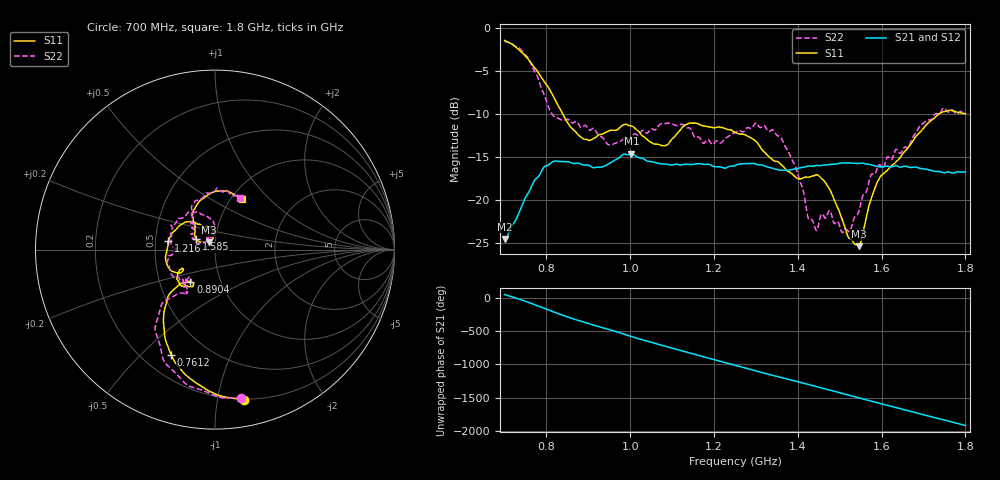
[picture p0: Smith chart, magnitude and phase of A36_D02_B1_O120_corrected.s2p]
! Created with skrf 1.9.0 (http://scikit-rf.org).
# Hz S RI R 50.0
!freq ReS11 ImS11 ReS21 ImS21 ReS12 ImS12 ReS22 ImS22
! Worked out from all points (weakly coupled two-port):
!   1601 points, 700 MHz to 1.8 GHz, reference 50 ohm
!   highest |S21| = -14.64 dB at 1.002 GHz (marker M1); lowest = -24.6 dB at 700 MHz (marker M2)
!   lowest |S11| = -25.4 dB at 1.546 GHz (marker M3), VSWR 1.11, Z = 46.5 + j3.81 ohm
!   |S11| at or under -10 dB: 838.8 MHz to 1.736 GHz (897.3 MHz wide, 69.7 % of centre)
!   |S22| runs from -23.8 to -1.5 dB; largest |S21 - S12| = 0.0034
!   S11 on the Smith chart (normalised r, x): 700 MHz: 0.20, -1.19; 761.2 MHz: 0.32, -0.62; 890.4 MHz: 0.72, -0.27; 1.216 GHz: 0.58, +0.06; 1.585 GHz: 0.81, +0.10; 1.8 GHz: 1.12, +0.70
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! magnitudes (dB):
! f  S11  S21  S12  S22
! 700 MHz  -1.4  -24.6  -24.3  -1.5
! 761.2 MHz  -3.9  -18.8  -18.7  -3.9
! 814.1 MHz  -7.7  -15.6  -15.6  -10.1
! 883.6 MHz  -12.7  -15.9  -15.8  -11.6
! 890.4 MHz  -12.9  -16.0  -15.9  -11.3
! 950.2 MHz  -11.9  -15.8  -15.8  -13.6
! 1.002 GHz  -11.4  -14.6  -14.7  -12.7
! 1.067 GHz  -13.5  -15.8  -15.7  -11.4
! 1.139 GHz  -11.1  -15.9  -15.8  -11.6
! 1.216 GHz  -11.6  -16.2  -16.2  -13.4
! 1.25 GHz  -12.1  -16.0  -15.9  -12.2
! 1.3 GHz  -13.2  -15.8  -15.8  -11.0
! 1.359 GHz  -15.8  -16.6  -16.5  -12.7
! 1.394 GHz  -17.4  -16.4  -16.4  -16.1
! 1.434 GHz  -17.3  -16.1  -16.0  -22.4
! 1.473 GHz  -18.5  -15.9  -15.9  -21.4
! 1.522 GHz  -24.5  -15.7  -15.7  -23.7
! 1.546 GHz  -25.4  -15.8  -15.7  -21.4
! 1.585 GHz  -18.5  -16.0  -16.0  -17.0
! 1.617 GHz  -16.4  -16.1  -16.1  -15.0
! 1.737 GHz  -10.0  -16.7  -16.8  -10.0
! 1.8 GHz  -10.0  -16.7  -16.7  -10.0
